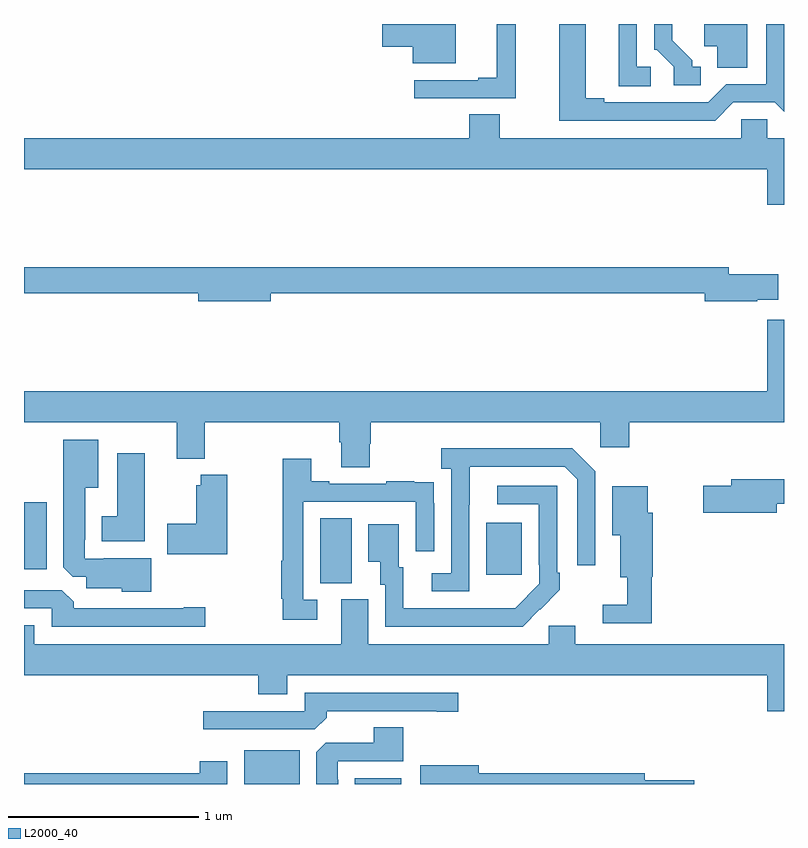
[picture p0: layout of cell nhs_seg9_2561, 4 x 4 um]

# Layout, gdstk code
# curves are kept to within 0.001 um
import gdstk
lib = gdstk.Library(unit=1e-6, precision=1e-09)
def R(c, l, rs):  # rectangles x0, y0, x1, y1
    for r in rs: c.add(gdstk.rectangle(r[:2], r[2:], *l))
def P(c, l, *ps):  # polygons
    for p in ps: c.add(gdstk.Polygon(p, *l))
L2000_40 = (2000, 40)

nhs_seg9_2561 = lib.new_cell('nhs_seg9_2561')
R(nhs_seg9_2561, L2000_40, [(258.158,1210.5,258.451,1210.678), (258.74,1210.5,258.985,1210.531), (258.56,1211.557,258.724,1211.9), (259.433,1211.601,259.621,1211.875), (257,1211.63,257.119,1211.983)])
P(nhs_seg9_2561, L2000_40, [(259.273,1214.5),(258.885,1214.5),(258.885,1214.381),(259.046,1214.381),(259.046,1214.294),(259.273,1214.294)],
  [(260.806,1214.5),(260.579,1214.5),(260.579,1214.384),(260.648,1214.384),(260.648,1214.269),(260.806,1214.269)],
  [(260.733,1214.088),(260.951,1214.088),(261,1214.039),(261,1214.5),(260.907,1214.5),(260.907,1214.184),(260.697,1214.184),(260.601,1214.088),(260.053,1214.088),(260.053,1214.108),(259.957,1214.108),(259.957,1214.5),(259.817,1214.5),(259.817,1213.992),(260.637,1213.992)],
  [(259.587,1214.5),(259.487,1214.5),(259.487,1214.218),(259.391,1214.218),(259.391,1214.205),(259.053,1214.205),(259.053,1214.109),(259.587,1214.109)],
  [(260.299,1214.274),(260.226,1214.274),(260.226,1214.5),(260.129,1214.5),(260.129,1214.173),(260.299,1214.173)],
  [(260.563,1214.274),(260.518,1214.274),(260.518,1214.309),(260.413,1214.414),(260.413,1214.5),(260.316,1214.5),(260.316,1214.364),(260.331,1214.364),(260.421,1214.274),(260.421,1214.178),(260.563,1214.178)],
  [(261,1213.9),(260.913,1213.9),(260.913,1213.998),(260.775,1213.998),(260.775,1213.9),(259.503,1213.9),(259.503,1214.024),(259.343,1214.024),(259.343,1213.9),(257,1213.9),(257,1213.736),(260.912,1213.736),(260.912,1213.548),(261,1213.548)],
  [(258.298,1213.084),(260.582,1213.084),(260.582,1213.042),(260.858,1213.042),(260.858,1213.049),(260.971,1213.049),(260.971,1213.184),(260.71,1213.184),(260.71,1213.22),(257,1213.22),(257,1213.084),(257.918,1213.084),(257.918,1213.042),(258.298,1213.042)],
  [(258.819,1212.291),(258.824,1212.291),(258.824,1212.404),(260.034,1212.404),(260.034,1212.273),(260.186,1212.273),(260.186,1212.404),(261,1212.404),(261,1212.943),(260.912,1212.943),(260.912,1212.568),(257,1212.568),(257,1212.404),(257.804,1212.404),(257.804,1212.212),(257.952,1212.212),(257.952,1212.404),(258.659,1212.404),(258.659,1212.298),(258.671,1212.298),(258.671,1212.166),(258.819,1212.166)],
  [(257.671,1211.689),(257.419,1211.689),(257.419,1211.685),(257.319,1211.685),(257.319,1211.785),(257.323,1211.785),(257.323,1212.059),(257.392,1212.059),(257.392,1212.313),(257.207,1212.313),(257.207,1211.641),(257.256,1211.592),(257.327,1211.592),(257.327,1211.531),(257.514,1211.531),(257.514,1211.513),(257.671,1211.513)],
  [(259.344,1211.971),(259.345,1212.171),(259.845,1212.171),(259.911,1212.105),(259.911,1211.652),(260.007,1211.652),(260.007,1212.147),(259.886,1212.268),(259.197,1212.268),(259.197,1212.158),(259.248,1212.158),(259.248,1211.61),(259.146,1211.61),(259.146,1211.514),(259.344,1211.514)],
  [(257.635,1212.241),(257.492,1212.241),(257.492,1211.908),(257.408,1211.908),(257.408,1211.777),(257.635,1211.777)],
  [(258.544,1211.469),(258.471,1211.469),(258.471,1211.985),(259.062,1211.985),(259.062,1211.724),(259.158,1211.724),(259.158,1211.978),(259.157,1211.978),(259.157,1212.087),(259.055,1212.087),(259.055,1212.094),(258.907,1212.094),(258.907,1212.081),(258.607,1212.081),(258.607,1212.094),(258.511,1212.094),(258.511,1212.211),(258.363,1212.211),(258.363,1211.676),(258.355,1211.676),(258.355,1211.476),(258.363,1211.476),(258.363,1211.364),(258.544,1211.364)],
  [(258.069,1212.127),(257.929,1212.127),(257.929,1212.073),(257.906,1212.073),(257.906,1211.871),(257.754,1211.871),(257.754,1211.708),(258.069,1211.708)],
  [(260.962,1211.974),(261,1211.974),(261,1212.103),(260.723,1212.103),(260.723,1212.069),(260.574,1212.069),(260.574,1211.927),(260.962,1211.927)],
  [(259.715,1211.419),(259.716,1211.418),(259.821,1211.523),(259.821,1211.611),(259.806,1211.611),(259.806,1212.069),(259.491,1212.069),(259.491,1211.973),(259.71,1211.973),(259.71,1211.653),(259.713,1211.653),(259.713,1211.553),(259.585,1211.425),(258.997,1211.424),(258.997,1211.64),(258.973,1211.64),(258.973,1211.866),(258.812,1211.866),(258.812,1211.669),(258.875,1211.669),(258.875,1211.55),(258.9,1211.55),(258.9,1211.328),(259.624,1211.328)],
  [(260.303,1211.592),(260.309,1211.592),(260.309,1211.928),(260.284,1211.928),(260.284,1212.067),(260.096,1212.067),(260.096,1211.81),(260.138,1211.81),(260.138,1211.588),(260.175,1211.588),(260.175,1211.443),(260.046,1211.443),(260.046,1211.346),(260.303,1211.346)],
  [(257.953,1211.429),(257.84,1211.429),(257.84,1211.424),(257.261,1211.424),(257.261,1211.458),(257.199,1211.52),(257,1211.52),(257,1211.424),(257.145,1211.424),(257.145,1211.328),(257.953,1211.328)],
  [(257,1211.335),(257,1211.072),(258.233,1211.072),(258.233,1210.973),(258.385,1210.973),(258.385,1211.072),(260.912,1211.072),(260.912,1210.884),(261,1210.884),(261,1211.236),(259.9,1211.236),(259.9,1211.334),(259.761,1211.334),(259.761,1211.236),(258.811,1211.236),(258.811,1211.472),(258.671,1211.472),(258.671,1211.236),(257.053,1211.236),(257.053,1211.335)],
  [(258.593,1210.85),(258.593,1210.884),(259.172,1210.884),(259.172,1210.879),(259.285,1210.879),(259.285,1210.98),(258.477,1210.98),(258.477,1210.884),(257.943,1210.884),(257.943,1210.788),(258.531,1210.788)],
  [(258.655,1210.523),(258.651,1210.523),(258.651,1210.62),(258.995,1210.62),(258.995,1210.799),(258.842,1210.799),(258.842,1210.716),(258.588,1210.716),(258.539,1210.667),(258.539,1210.5),(258.655,1210.5)],
  [(258.07,1210.621),(257.924,1210.621),(257.924,1210.556),(257,1210.556),(257,1210.5),(258.07,1210.5)],
  [(260.527,1210.52),(260.266,1210.52),(260.266,1210.556),(259.393,1210.556),(259.393,1210.6),(259.086,1210.6),(259.086,1210.5),(260.527,1210.5)])

lib.write_gds('nhs_seg9_2561.gds')
